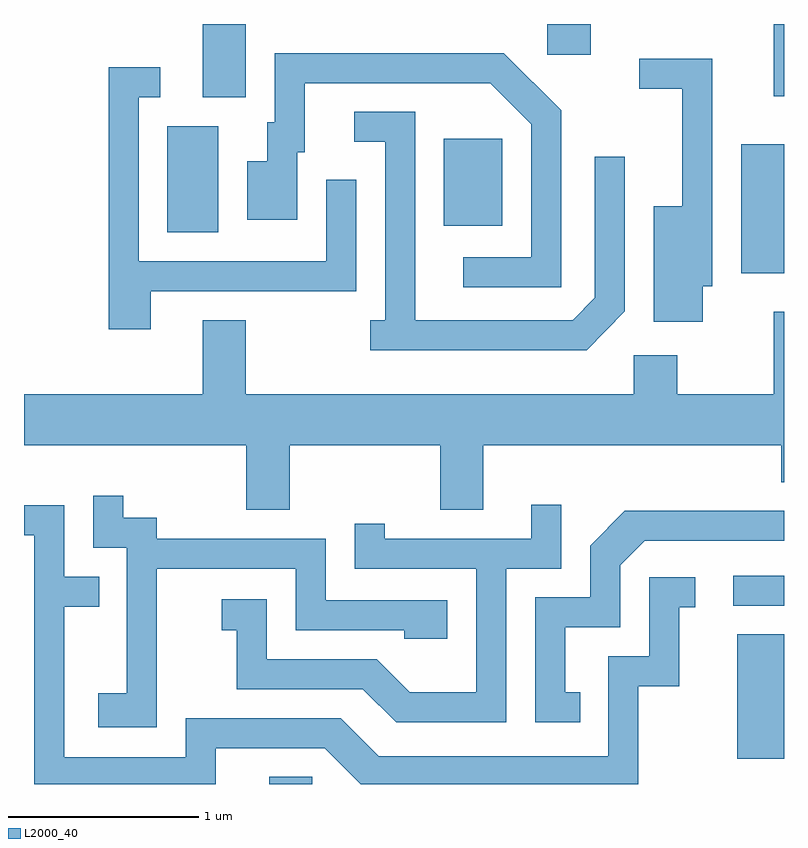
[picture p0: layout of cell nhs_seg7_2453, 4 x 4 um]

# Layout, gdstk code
import gdstk
lib = gdstk.Library(unit=1e-6, precision=1e-09)
def R(c, l, rs):  # rectangles x0, y0, x1, y1
    for r in rs: c.add(gdstk.rectangle(r[:2], r[2:], *l))
def P(c, l, *ps):  # polygons
    for p in ps: c.add(gdstk.Polygon(p, *l))
L2000_40 = (2000, 40)

nhs_seg7_2453 = lib.new_cell('nhs_seg7_2453')
R(nhs_seg7_2453, L2000_40, [(260.901,1770.252,261.129,1770.289), (263.366,1770.386,263.611,1771.039), (263.343,1771.191,263.611,1771.349), (263.386,1772.941,263.611,1773.619), (260.366,1773.156,260.634,1773.714), (261.821,1773.191,262.129,1773.649), (260.551,1773.866,260.779,1774.252), (263.556,1773.873,263.611,1774.252), (262.366,1774.091,262.594,1774.252)])
P(nhs_seg7_2453, L2000_40, [(262.439,1773.797),(262.137,1774.099),(260.931,1774.099),(260.931,1773.734),(260.891,1773.734),(260.891,1773.529),(260.786,1773.529),(260.786,1773.221),(261.049,1773.221),(261.049,1773.576),(261.089,1773.576),(261.089,1773.941),(262.064,1773.941),(262.281,1773.724),(262.281,1773.024),(261.923,1773.024),(261.923,1772.866),(262.439,1772.866)],
  [(263.184,1772.871),(263.234,1772.871),(263.234,1774.069),(262.848,1774.069),(262.848,1773.911),(263.076,1773.911),(263.076,1773.294),(262.926,1773.294),(262.926,1772.686),(263.184,1772.686)],
  [(260.279,1772.846),(261.359,1772.846),(261.359,1773.433),(261.201,1773.433),(261.201,1773.004),(260.214,1773.004),(260.214,1773.866),(260.328,1773.866),(260.328,1774.024),(260.056,1774.024),(260.056,1772.646),(260.279,1772.646)],
  [(262.774,1772.739),(262.774,1773.553),(262.616,1773.553),(262.616,1772.812),(262.499,1772.694),(261.669,1772.694),(261.669,1773.789),(261.348,1773.789),(261.348,1773.631),(261.511,1773.631),(261.511,1772.694),(261.433,1772.694),(261.433,1772.536),(262.572,1772.536)],
  [(261.009,1772.036),(261.801,1772.036),(261.801,1771.696),(262.029,1771.696),(262.029,1772.036),(263.596,1772.036),(263.596,1771.841),(263.611,1771.841),(263.611,1772.738),(263.556,1772.738),(263.556,1772.304),(263.049,1772.304),(263.049,1772.509),(262.821,1772.509),(262.821,1772.304),(260.779,1772.304),(260.779,1772.694),(260.551,1772.694),(260.551,1772.304),(259.611,1772.304),(259.611,1772.036),(260.781,1772.036),(260.781,1771.696),(261.009,1771.696)],
  [(260.309,1771.386),(261.041,1771.386),(261.041,1771.061),(261.611,1771.061),(261.611,1771.016),(261.839,1771.016),(261.839,1771.219),(261.199,1771.219),(261.199,1771.544),(260.309,1771.544),(260.309,1771.654),(260.134,1771.654),(260.134,1771.768),(259.976,1771.768),(259.976,1771.496),(260.151,1771.496),(260.151,1770.729),(260.001,1770.729),(260.001,1770.551),(260.309,1770.551)],
  [(262.149,1771.386),(262.439,1771.386),(262.439,1771.723),(262.281,1771.723),(262.281,1771.544),(261.509,1771.544),(261.509,1771.623),(261.351,1771.623),(261.351,1771.386),(261.991,1771.386),(261.991,1770.734),(261.642,1770.734),(261.467,1770.909),(260.889,1770.909),(260.889,1771.224),(260.653,1771.224),(260.653,1771.061),(260.731,1771.061),(260.731,1770.751),(261.394,1770.751),(261.569,1770.576),(262.149,1770.576)],
  [(260.619,1770.441),(261.194,1770.441),(261.383,1770.252),(262.844,1770.252),(262.844,1770.766),(263.059,1770.766),(263.059,1771.181),(263.143,1771.181),(263.143,1771.339),(262.901,1771.339),(262.901,1770.924),(262.686,1770.924),(262.686,1770.399),(261.477,1770.399),(261.277,1770.599),(260.461,1770.599),(260.461,1770.394),(259.824,1770.394),(259.824,1771.186),(260.008,1771.186),(260.008,1771.344),(259.824,1771.344),(259.824,1771.719),(259.611,1771.719),(259.611,1771.561),(259.666,1771.561),(259.666,1770.252),(260.619,1770.252)],
  [(262.538,1770.734),(262.459,1770.734),(262.459,1771.076),(262.749,1771.076),(262.749,1771.404),(262.877,1771.531),(263.611,1771.531),(263.611,1771.689),(262.774,1771.689),(262.591,1771.507),(262.591,1771.234),(262.301,1771.234),(262.301,1770.576),(262.538,1770.576)])

lib.write_gds('nhs_seg7_2453.gds')
